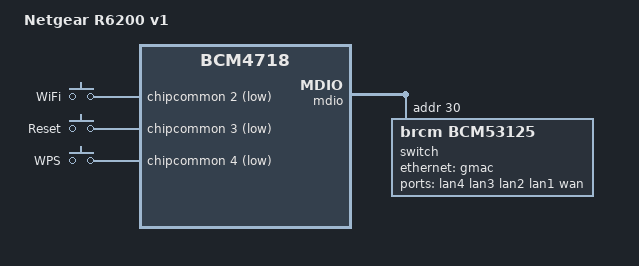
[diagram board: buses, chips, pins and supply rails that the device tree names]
// SPDX-License-Identifier: GPL-2.0-or-later OR MIT

/dts-v1/;

#include <dt-bindings/gpio/gpio.h>
#include <dt-bindings/input/input.h>

#include "bcm4718.dtsi"

/ {
	compatible = "netgear,r6200-v1", "brcm,bcm4718";
	model = "Netgear R6200 v1";

	aliases {
		serial0 = &uart0;
	};

	chosen {
		stdout-path = "serial0:115200n8";
	};

	keys {
		compatible = "gpio-keys";

		button-rfkill {
			label = "WiFi";
			linux,code = <KEY_RFKILL>;
			gpios = <&chipcommon 2 GPIO_ACTIVE_LOW>;
		};

		button-restart {
			label = "Reset";
			linux,code = <KEY_RESTART>;
			gpios = <&chipcommon 3 GPIO_ACTIVE_LOW>;
		};

		button-wps {
			label = "WPS";
			linux,code = <KEY_WPS_BUTTON>;
			gpios = <&chipcommon 4 GPIO_ACTIVE_LOW>;
		};
	};
};

&mdio {
	switch@1e {
		compatible = "brcm,bcm53125";
		reg = <0x1e>;

		ports {
			#address-cells = <1>;
			#size-cells = <0>;

			port@0 {
				reg = <0>;
				label = "lan4";
			};

			port@1 {
				reg = <1>;
				label = "lan3";
			};

			port@2 {
				reg = <2>;
				label = "lan2";
			};

			port@3 {
				reg = <3>;
				label = "lan1";
			};

			port@4 {
				reg = <4>;
				label = "wan";
			};

			port@8 {
				reg = <8>;
				ethernet = <&gmac>;
				phy-mode = "rgmii-id";

				fixed-link {
					speed = <1000>;
					full-duplex;
				};
			};
		};
	};
};
